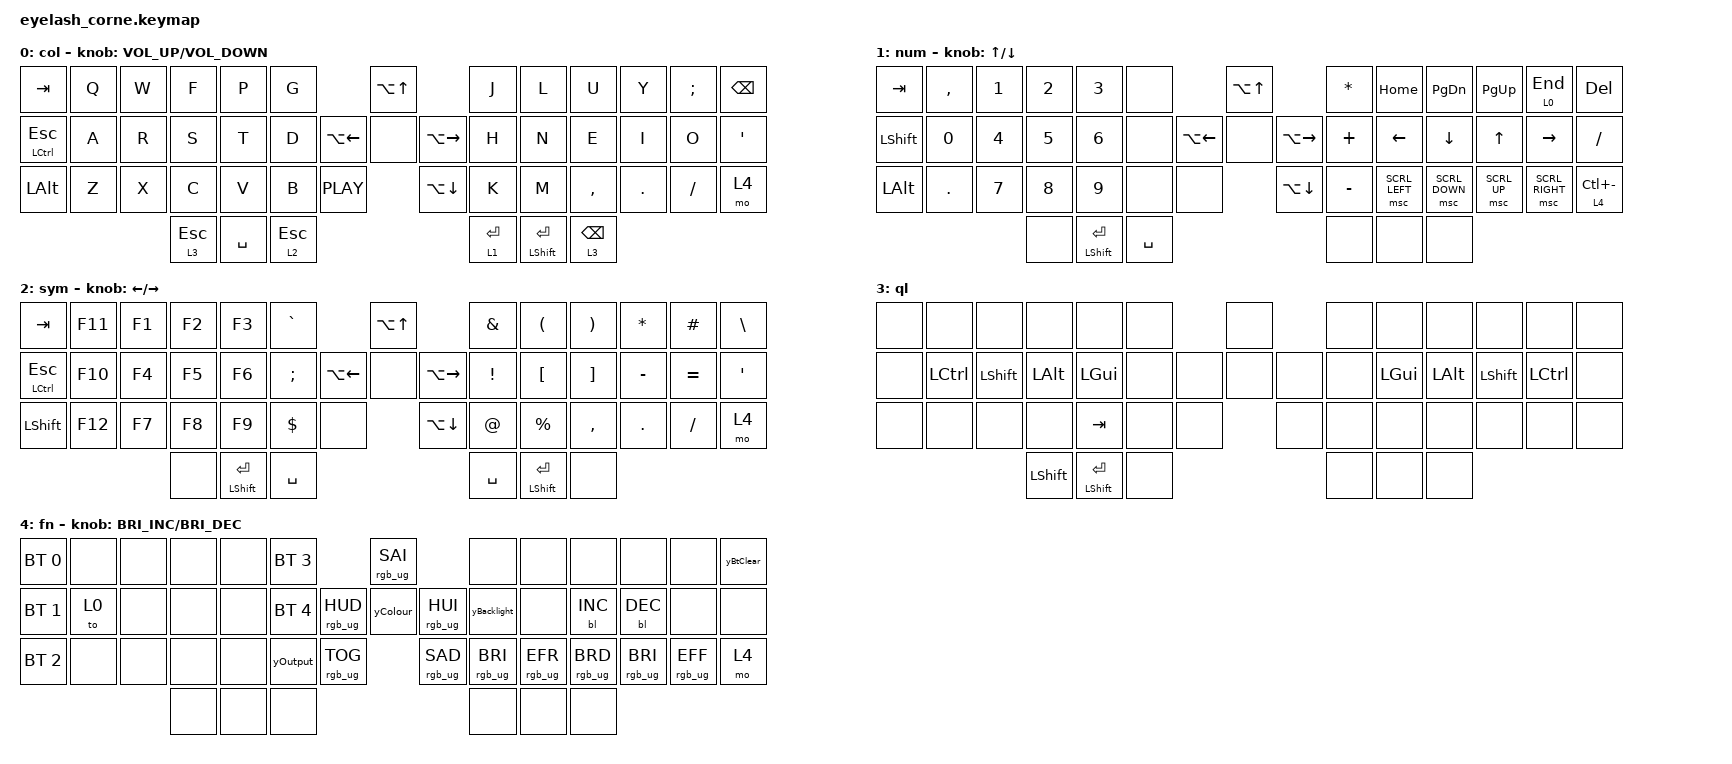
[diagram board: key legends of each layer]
#include <dt-bindings/zmk/mouse.h>
#include <input/processors.dtsi>
#include <behaviors.dtsi>
#include <dt-bindings/zmk/backlight.h>
#include <dt-bindings/zmk/bt.h>
#include <dt-bindings/zmk/ext_power.h>
#include <dt-bindings/zmk/keys.h>
#include <dt-bindings/zmk/outputs.h>
#include <dt-bindings/zmk/pointing.h>
#include <dt-bindings/zmk/rgb.h>

/*

   &mmv_input_listener {
   input-processors = <&zip_xy_scaler 2 1>;
   };

   &msc_input_listener {
   input-processors = <&zip_xy_scaler 2 1>;
   };


 */

#define ZMK_MOUSE_DEFAULT_MOVE_VAL 1200  // 600
#define ZMK_MOUSE_DEFAULT_SCRL_VAL 20    // 10

/ {
    behaviors {
    };

    scroll_encoder: scroll_encoder {
        compatible = "zmk,behavior-sensor-rotate";
        #sensor-binding-cells = <0>;
        bindings = <&msc SCRL_DOWN>, <&msc SCRL_UP>;

        tap-ms = <30>;
    };

    zHomeMod: zHomeMod {
        compatible = "zmk,behavior-hold-tap";
        label = "ZHOMEMOD";
        bindings = <&kp>, <&kp>;

        #binding-cells = <2>;
        tapping-term-ms = <250>;
        quick-tap-ms = <200>;
        flavor = "tap-preferred";
        require-prior-idle-ms = <130>;
    };

    zHomeLayer: zHomeLayer {
        compatible = "zmk,behavior-hold-tap";
        label = "ZHOMELAYER";
        bindings = <&mo>, <&kp>;

        #binding-cells = <2>;
        tapping-term-ms = <250>;
        quick-tap-ms = <200>;
        flavor = "tap-preferred";
        require-prior-idle-ms = <130>;
    };

    yOutput: yOutput {
        compatible = "zmk,behavior-tap-dance";
        label = "YOUTPUT";
        #binding-cells = <0>;
        tapping-term-ms = <300>;
        bindings = <&out OUT_BLE>, <&out OUT_USB>;
    };

    zFastLayer: zFastLayer {
        compatible = "zmk,behavior-hold-tap";
        label = "ZFASTLAYER";
        bindings = <&mo>, <&kp>;

        #binding-cells = <2>;
        hold-while-undecided;
        tapping-term-ms = <200>;
    };

    yPower: yPower {
        compatible = "zmk,behavior-tap-dance";
        label = "YPOWER";
        #binding-cells = <0>;
        bindings = <&ext_power EP_ON>, <&ext_power EP_OFF>;

        tapping-term-ms = <300>;
    };

    yBtClear: yBtClear {
        compatible = "zmk,behavior-tap-dance";
        label = "YBTCLEAR";
        #binding-cells = <0>;
        tapping-term-ms = <300>;
        bindings = <&none>, <&none>, <&bt BT_CLR>;
    };

    zFast_Mod: zFast_Mod {
        compatible = "zmk,behavior-hold-tap";
        label = "ZFAST_MOD";
        bindings = <&kp>, <&kp>;

        #binding-cells = <2>;
        tapping-term-ms = <200>;
        hold-while-undecided;
    };

    yOff: yOff {
        compatible = "zmk,behavior-tap-dance";
        label = "YOFF";
        #binding-cells = <0>;
        bindings = <&kp LG(L)>, <&soft_off>;

        tapping-term-ms = <300>;
    };

    yBacklight: yBacklight {
        compatible = "zmk,behavior-tap-dance";
        label = "YBACKLIGHT";
        #binding-cells = <0>;
        bindings = <&bl BL_ON>, <&bl BL_OFF>;
    };

    yColour: yColour {
        compatible = "zmk,behavior-tap-dance";
        label = "YCOLOUR";
        #binding-cells = <0>;
        tapping-term-ms = <300>;
        bindings =
            <&rgb_ug RGB_COLOR_HSB(0,0,58)>,
            <&rgb_ug RGB_COLOR_HSB(269,87,84)>,
            <&rgb_ug RGB_COLOR_HSB(173,36,27)>;
    };

    combos { compatible = "zmk,combos"; };

    keymap {
        compatible = "zmk,keymap";

        qwerty {
            display-name = "col";
            bindings = <
&kp TAB                  &kp Q  &kp W  &kp F                 &kp P      &kp G                                          &kp LA(UP)                   &kp J                &kp L                        &kp U                    &kp Y    &kp SEMI  &kp BSPC
&zFast_Mod LCTRL ESCAPE  &kp A  &kp R  &kp S                 &kp T      &kp D                            &kp LA(LEFT)  &none         &kp LA(RIGHT)  &kp H                &kp N                        &kp E                    &kp I    &kp O     &kp SQT
&kp LEFT_ALT             &kp Z  &kp X  &kp C                 &kp V      &kp B              &kp C_PLAY                  &kp LA(DOWN)                 &kp K                &kp M                        &kp COMMA                &kp DOT  &kp FSLH  &mo 4
                                       &zFastLayer 3 ESCAPE  &kp SPACE  &zFastLayer 2 ESC                                                           &zFastLayer 1 ENTER  &zFast_Mod LEFT_SHIFT ENTER  &zFastLayer 3 BACKSPACE
            >;

            sensor-bindings = <&inc_dec_kp C_VOLUME_UP C_VOLUME_DOWN>;
        };

        layer_num {
            display-name = "num";
            bindings = <
&kp TAB         &kp COMMA  &kp N1  &kp N2  &kp N3                       &none                             &kp LA(UP_ARROW)                 &kp ASTERISK  &kp HOME        &kp PAGE_DOWN   &kp PAGE_UP   &zHomeLayer 0 END  &kp DELETE
&kp LEFT_SHIFT  &kp N0     &kp N4  &kp N5  &kp N6                       &none               &kp LA(LEFT)  &none             &kp LA(RIGHT)  &kp PLUS      &kp LEFT        &kp DOWN        &kp UP        &kp RIGHT          &kp SLASH
&kp LEFT_ALT    &kp DOT    &kp N7  &kp N8  &kp N9                       &none      &none                  &kp LA(DOWN)                     &kp MINUS     &msc SCRL_LEFT  &msc SCRL_DOWN  &msc SCRL_UP  &msc SCRL_RIGHT    &zFastLayer 4 LC(MINUS)
                                   &none   &zFast_Mod LEFT_SHIFT ENTER  &kp SPACE                                                          &none         &none           &none
            >;

            label = "num";
            sensor-bindings = <&inc_dec_kp UP_ARROW DOWN>;
        };

        layer_sym {
            display-name = "sym";
            bindings = <
&kp TAB                         &kp F11  &kp F1  &kp F2  &kp F3                       &kp GRAVE                             &kp LA(UP)                   &kp AMPERSAND    &kp LEFT_PARENTHESIS         &kp RIGHT_PARENTHESIS  &kp ASTERISK  &kp POUND  &kp BACKSLASH
&zFast_Mod LEFT_CONTROL ESCAPE  &kp F10  &kp F4  &kp F5  &kp F6                       &kp SEMICOLON           &kp LA(LEFT)  &none         &kp LA(RIGHT)  &kp EXCLAMATION  &kp LEFT_BRACKET             &kp RIGHT_BRACKET      &kp MINUS     &kp EQUAL  &kp SINGLE_QUOTE
&kp LEFT_SHIFT                  &kp F12  &kp F7  &kp F8  &kp F9                       &kp DOLLAR     &none                  &kp LA(DOWN)                 &kp AT_SIGN      &kp PERCENT                  &kp COMMA              &kp DOT       &kp FSLH   &mo 4
                                                 &none   &zFast_Mod LEFT_SHIFT ENTER  &kp SPACE                                                          &kp SPACE        &zFast_Mod LEFT_SHIFT ENTER  &none
            >;

            sensor-bindings = <&inc_dec_kp LEFT RIGHT>;
        };

        LAYER_QL {
            display-name = "ql";
            bindings = <
&none  &none      &none      &none      &none                        &none                  &none         &none  &none     &none     &none      &none      &none
&none  &kp LCTRL  &kp LSHFT  &kp LALT   &kp LGUI                     &none           &none  &none  &none  &none  &kp LGUI  &kp LALT  &kp LSHFT  &kp LCTRL  &none
&none  &none      &none      &none      &kp TAB                      &none  &none           &none         &none  &none     &none     &none      &none      &none
                             &kp LSHFT  &zFast_Mod LEFT_SHIFT ENTER  &none                                &none  &none     &none
            >;
        };

        layer_fn {
            display-name = "fn";
            bindings = <
&bt BT_SEL 0  &none  &none  &none  &none  &bt BT_SEL 3                                      &rgb_ug RGB_SAI                   &none            &none            &none            &none            &none            &yBtClear
&bt BT_SEL 1  &to 0  &none  &none  &none  &bt BT_SEL 4                     &rgb_ug RGB_HUD  &yColour         &rgb_ug RGB_HUI  &yBacklight      &none            &bl BL_INC       &bl BL_DEC       &none            &none
&bt BT_SEL 2  &none  &none  &none  &none  &yOutput      &rgb_ug RGB_TOG                     &rgb_ug RGB_SAD                   &rgb_ug RGB_BRI  &rgb_ug RGB_EFR  &rgb_ug RGB_BRD  &rgb_ug RGB_BRI  &rgb_ug RGB_EFF  &mo 4
                            &none  &none  &none                                                                               &none            &none            &none
            >;

            sensor-bindings = <&inc_dec_kp C_BRIGHTNESS_INC C_BRIGHTNESS_DEC>;
        };
    };
};
